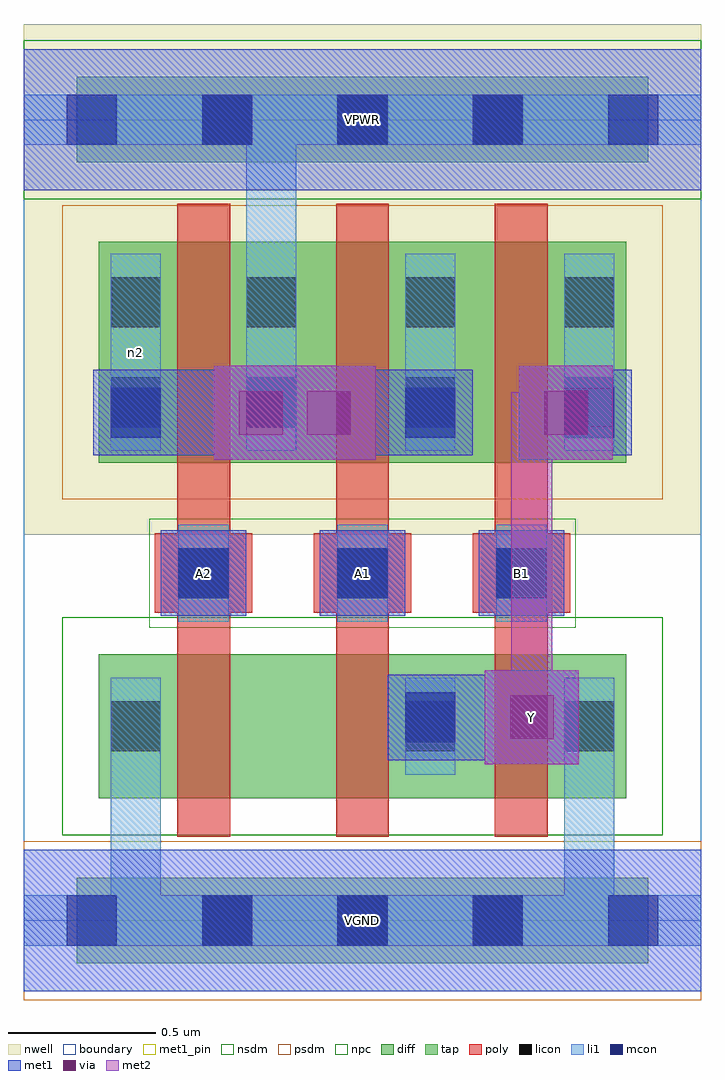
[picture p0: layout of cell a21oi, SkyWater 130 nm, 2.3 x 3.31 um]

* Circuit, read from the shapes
.subckt a21oi A1 A2 B1 VGND VPWR Y n2
XM1 n1 A2 VGND VGND sky130_fd_pr__nfet_01v8 w=0.49 l=0.18
XM2 Y A1 n1 VGND sky130_fd_pr__nfet_01v8 w=0.49 l=0.18
XM3 VGND B1 Y VGND sky130_fd_pr__nfet_01v8 w=0.49 l=0.18
XM4 VPWR A2 n2 VPWR sky130_fd_pr__pfet_01v8 w=0.75 l=0.18
XM5 n2 A1 VPWR VPWR sky130_fd_pr__pfet_01v8 w=0.75 l=0.18
XM6 Y B1 n2 VPWR sky130_fd_pr__pfet_01v8 w=0.75 l=0.18
.ends

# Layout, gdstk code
import gdstk
lib = gdstk.Library(unit=1e-6, precision=1e-09)
def R(c, l, rs):  # rectangles x0, y0, x1, y1
    for r in rs: c.add(gdstk.rectangle(r[:2], r[2:], *l))
def A(c, l, x, y, w, h, nx, ny, dx, dy):  # array of equal rectangles
    R(c, l, [(x+i*dx, y+j*dy, x+i*dx+w, y+j*dy+h) for i in range(nx) for j in range(ny)])
nwell = (64, 20)
diff = (65, 20)
tap = (65, 44)
poly = (66, 20)
licon = (66, 44)
li1 = (67, 20)
mcon = (67, 44)
met1_pin = (68, 16)
met1 = (68, 20)
via = (68, 44)
met2 = (69, 20)
nsdm = (93, 44)
psdm = (94, 20)
npc = (95, 20)
boundary = (235, 4)

a21oi = lib.new_cell('a21oi')
R(a21oi, nwell, [(0,1.31,2.3,3.045)])
R(a21oi, diff, [(0.255,0.415,2.045,0.905), (0.255,1.555,2.045,2.305)])
R(a21oi, tap, [(0.18,-0.145,2.12,0.145), (0.18,2.575,2.12,2.865)])
A(a21oi, poly, 0.52, 0.285, 0.18, 2.15, 3, 1, 0.54, 0)
A(a21oi, poly, 0.445, 1.045, 0.33, 0.27, 3, 1, 0.54, 0)
A(a21oi, licon, 0.605, -0.085, 0.17, 0.17, 3, 2, 0.46, 2.72)
A(a21oi, licon, 0.525, 1.095, 0.17, 0.17, 3, 1, 0.54, 0)
A(a21oi, licon, 0.755, 1.675, 0.17, 0.17, 3, 2, 0.54, 0.34)
R(a21oi, licon, [(0.295,0.575,0.465,0.745), (1.295,0.575,1.465,0.745), (1.835,0.575,2.005,0.745), (0.295,1.675,0.465,1.845), (0.295,2.015,0.465,2.185)])
A(a21oi, li1, 0.525, 1.015, 0.17, 0.33, 3, 1, 0.54, 0)
A(a21oi, li1, 0.755, 1.595, 0.17, 0.67, 3, 1, 0.54, 0)
R(a21oi, li1, [(0,-0.085,2.3,0.085), (0.295,-0.085,0.465,0.825), (1.835,-0.085,2.005,0.825), (0.295,0.495,0.465,0.825), (1.295,0.495,1.465,0.825), (1.835,0.495,2.005,0.825), (0.295,1.595,0.465,2.265), (0.755,1.595,0.925,2.805), (0,2.635,2.3,2.805)])
A(a21oi, mcon, 0.145, -0.085, 0.17, 0.17, 5, 2, 0.46, 2.72)
A(a21oi, mcon, 0.525, 1.095, 0.17, 0.17, 3, 1, 0.54, 0)
R(a21oi, mcon, [(1.295,0.605,1.465,0.775), (0.295,1.64,0.465,1.81), (1.295,1.64,1.465,1.81), (1.835,1.64,2.005,1.81)])
A(a21oi, met1_pin, 0.465, 1.035, 0.29, 0.29, 3, 1, 0.54, 0)
R(a21oi, met1_pin, [(0,-0.24,2.3,0.24), (1.565,0.53,1.885,0.85), (0,2.48,2.3,2.96)])
A(a21oi, met1, 0.465, 1.035, 0.29, 0.29, 3, 1, 0.54, 0)
R(a21oi, met1, [(0,-0.24,2.3,0.24), (1.565,0.53,1.885,0.85), (1.235,0.545,1.525,0.835), (1.525,0.545,1.565,0.835), (1.31,0.62,1.795,0.76), (0.645,1.565,0.965,1.885), (0.875,1.565,1.195,1.885), (1.68,1.565,2,1.885), (0.235,1.58,0.525,1.87), (0.525,1.58,0.645,1.87), (1.195,1.58,1.235,1.87), (1.235,1.58,1.525,1.87), (1.775,1.58,2.065,1.87), (0.31,1.655,0.645,1.795), (0.505,1.655,0.875,1.795), (0.965,1.655,1.45,1.795), (1.77,1.655,1.99,1.795), (0,2.48,2.3,2.96)])
R(a21oi, via, [(1.65,0.615,1.8,0.765), (0.73,1.65,0.88,1.8), (0.96,1.65,1.11,1.8), (1.765,1.65,1.915,1.8)])
R(a21oi, met2, [(1.565,0.53,1.885,0.85), (1.655,0.62,1.795,1.795), (0.645,1.565,0.965,1.885), (0.875,1.565,1.195,1.885), (1.68,1.565,2,1.885), (0.735,1.655,1.105,1.795), (1.655,1.655,1.91,1.795)])
R(a21oi, nsdm, [(0.13,0.29,2.17,1.03), (0,2.45,2.3,2.99)])
R(a21oi, psdm, [(0,-0.27,2.3,0.27), (0.13,1.43,2.17,2.43)])
R(a21oi, npc, [(0.425,0.995,1.875,1.365)])
R(a21oi, boundary, [(0,0,2.3,2.72)])
a21oi.add(gdstk.Label('n2', (0.38,1.93), layer=67, texttype=5))
a21oi.add(gdstk.Label('A1', (1.15,1.18), layer=68, texttype=5))
a21oi.add(gdstk.Label('A2', (0.61,1.18), layer=68, texttype=5))
a21oi.add(gdstk.Label('B1', (1.69,1.18), layer=68, texttype=5))
a21oi.add(gdstk.Label('Y', (1.725,0.69), layer=68, texttype=5))
a21oi.add(gdstk.Label('VPWR', (1.15,2.72), layer=68, texttype=5))
a21oi.add(gdstk.Label('VGND', (1.15,0), layer=68, texttype=5))
a21oi.add(gdstk.Label('A1', (1.15,1.18), layer=68, texttype=16))
a21oi.add(gdstk.Label('A2', (0.61,1.18), layer=68, texttype=16))
a21oi.add(gdstk.Label('B1', (1.69,1.18), layer=68, texttype=16))
a21oi.add(gdstk.Label('Y', (1.725,0.69), layer=68, texttype=16))
a21oi.add(gdstk.Label('VPWR', (1.15,2.72), layer=68, texttype=16))
a21oi.add(gdstk.Label('VGND', (1.15,0), layer=68, texttype=16))

lib.write_gds('a21oi.gds')
